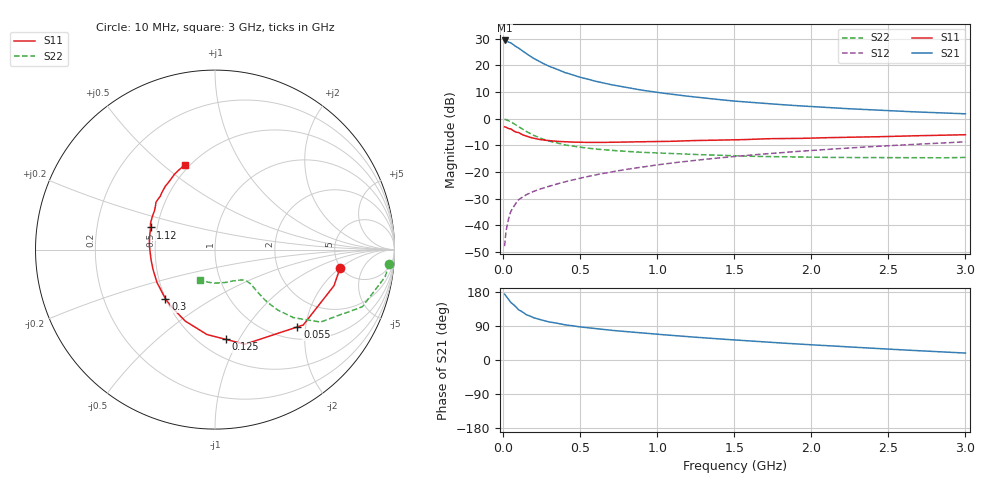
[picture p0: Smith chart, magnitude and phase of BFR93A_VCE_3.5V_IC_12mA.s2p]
! Infineon Technologies  Discrete & RF Semiconductors
! BFR93A
! VCE =  3.5 V,  IC =  12 mA
! Common Emitter S-Parameters:  Nov 2015
# GHz  S  MA  R  50
!  f  S11  S21  S12  S22
! GHz  MAG  ANG  MAG  ANG  MAG  ANG  MAG  ANG
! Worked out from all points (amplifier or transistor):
!   180 points, 10 MHz to 3 GHz, reference 50 ohm
!   highest |S21| = 29.3 dB at 10 MHz (marker M1)
!   |S21| within 3 dB of that: start of sweep to 103.8 MHz
!   unconditionally stable (mu >= 1): 533.9 MHz to 2.797 GHz
!   at 160 MHz: K = 0.56, MSG = 26.1 dB, |S12| = -28.2 dB
!   at 1.22 GHz: K = 1.09, MAG = 10.2 dB, |S12| = -15.8 dB
!   at 3 GHz: K = 0.99, MSG = 5.3 dB, |S12| = -8.7 dB
!   S11 on the Smith chart (normalised r, x): 10 MHz: 4.89, -2.02; 55 MHz: 1.26, -1.80; 125 MHz: 0.66, -0.88; 300 MHz: 0.50, -0.32; 1.12 GHz: 0.46, +0.13; 3 GHz: 0.47, +0.59
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0.01  0.7041 -8.5  29.22 173.7  0.0041 84.6  0.9736 -4.7
0.02  0.6928 -16.9  28.75 167.9  0.0079 81.2  0.9598 -9.1
0.045  0.6464 -36.4  26.59 154.8  0.0165 73.0  0.8909 -19.0
0.05  0.6467 -40.5  26.34 152.0  0.0182 72.3  0.8806 -21.2
0.055  0.6296 -43.2  25.7 150.4  0.0194 70.7  0.8621 -22.3
0.1  0.5529 -72.5  21.05 132.7  0.0303 62.0  0.7127 -34.5
0.125  0.5037 -83.1  18.7 127.0  0.0339 59.8  0.6441 -37.4
0.15  0.4751 -95.5  16.58 119.7  0.0376 58.0  0.5775 -41.0
0.2  0.4315 -112.5  13.42 111.3  0.0437 57.3  0.4861 -43.9
0.24  0.4072 -122.8  11.62 106.4  0.0481 57.5  0.4358 -44.8
0.26  0.3997 -127.4  10.85 104.1  0.0502 57.8  0.4146 -45.1
0.3  0.3895 -135.1  9.556 100.3  0.0544 58.6  0.3798 -45.2
0.4  0.3712 -150.8  7.347 92.9  0.0655 60.5  0.3238 -44.8
0.52  0.3615 -164.1  5.787 86.5  0.0792 62.1  0.2876 -44.2
0.7  0.3616 -177.8  4.349 78.4  0.1004 63.4  0.2557 -44.4
0.88  0.3692 171.8  3.511 72.1  0.1218 63.5  0.2367 -46.2
1.02  0.3742 165.1  3.059 67.3  0.1388 62.9  0.2271 -48.2
1.12  0.3799 161.0  2.812 64.2  0.151 62.5  0.2207 -50.2
1.52  0.4026 146.6  2.118 52.4  0.1983 59.5  0.2013 -60.1
2.02  0.4354 132.6  1.675 39.7  0.2566 54.7  0.1897 -76.0
2.52  0.4674 120.8  1.406 28.4  0.3142 49.0  0.1859 -94.5
3  0.5014 109.7  1.235 18.3  0.3685 43.0  0.1882 -116.3
